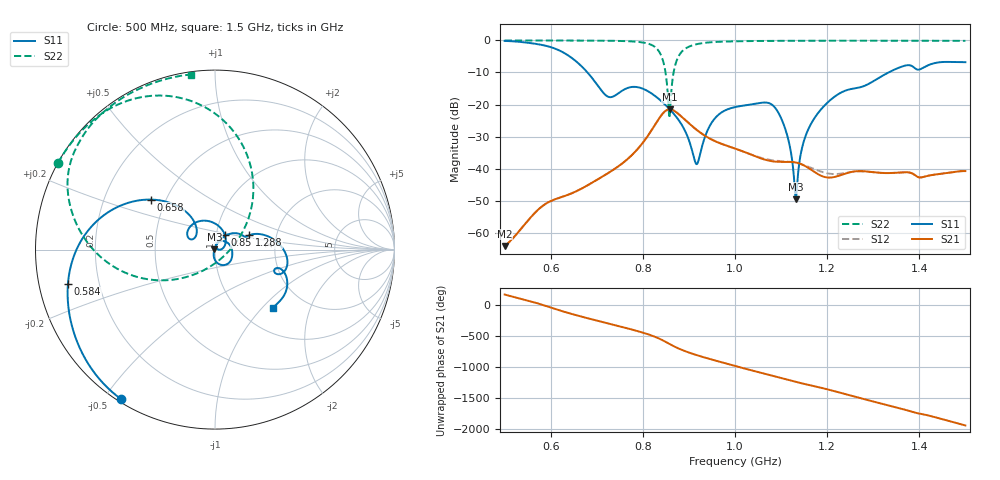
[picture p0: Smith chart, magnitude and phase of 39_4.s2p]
! TOUCHSTONE file generated by CST MICROWAVE STUDIO
! Date and time: Wed Oct 28 19:20:52 2020
! Project name: Scenario_1_Circular_Tissue_out_of_Line.cst
! Parameters = {dy1=312.958; L_HA=400; MT=2.54; Rad_Dielectric=30; Rad_Lower=7.3; Rad_Upper=30; a_HA=580; a_WG=246; b_HA=500; b_WG=121; c_HA=0; c_WG=187; d_feed=85; dx1=693; h_feed=15; h_lower=18; h_upper=40}
! Header version: 2018
! Port assignment regex: !\s*Touchstone port\s*([0-9]+)\s*=\s*(CST MWS port|CST DS port)\s*([0-9]+|Zmin|Zmax)\s*\(\"(.*)\"\)(\s*mode\s*([0-9]+))?.*
! Touchstone port assignment:
! Touchstone port 1 = CST MWS port 1 ("")
! Touchstone port 2 = CST MWS port 2 ("")
# GHz S DB R 50
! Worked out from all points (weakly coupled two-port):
!   1001 points, 500 MHz to 1.5 GHz, reference 50 ohm
!   highest |S21| = -21.51 dB at 858 MHz (marker M1); lowest = -64.2 dB at 500 MHz (marker M2)
!   lowest |S11| = -49.5 dB at 1.132 GHz (marker M3), VSWR 1.01, Z = 49.7 + j0.104 ohm
!   |S11| at or under -10 dB: 679.8 MHz to 1.333 GHz (653.4 MHz wide, 64.9 % of centre)
!   |S22| runs from -24.2 to 0.0 dB; largest |S21 - S12| = 0.0013
!   S11 on the Smith chart (normalised r, x): 500 MHz: 0.01, -0.55; 584 MHz: 0.09, -0.12; 658 MHz: 0.41, +0.29; 850 MHz: 1.10, +0.18; 1.288 GHz: 1.45, +0.24; 1.5 GHz: 1.40, -1.15
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0.5  -0.14 -122.2  -64.15 164.8  -64.22 164.9  -0.01 151.1
0.584  -1.50 -166.8  -51.49 -6.0  -51.52 -6.0  -0.02 145.3
0.658  -6.88 142.0  -46.91 -173.8  -46.89 -173.7  -0.04 139.2
0.667  -8.06 136.8  -46.25 168.2  -46.23 168.3  -0.04 138.4
0.725  -17.59 142.5  -41.37 58.2  -41.39 58.0  -0.10 131.6
0.78  -14.49 136.5  -35.25 -47.3  -35.24 -47.3  -0.34 120.4
0.834  -18.19 74.4  -24.63 179.1  -24.62 179.3  -3.21 83.4
0.85  -20.27 55.0  -21.90 119.1  -21.90 119.5  -10.79 46.8
0.858  -21.44 45.2  -21.51 86.3  -21.49 86.7  -24.23 -61.0
0.877  -24.71 21.5  -22.93 16.0  -22.89 16.2  -5.09 -169.1
0.917  -38.63 37.9  -27.94 -92.7  -27.93 -92.7  -1.16 159.4
0.951  -25.32 58.2  -31.06 -166.8  -31.04 -166.7  -0.53 148.8
1  -20.81 7.4  -33.73 93.2  -33.74 93.1  -0.28 140.3
1.088  -21.19 -71.9  -37.84 -77.6  -37.53 -77.3  -0.13 130.8
1.114  -30.00 -103.7  -37.90 -128.3  -37.83 -128.3  -0.12 128.5
1.132  -49.55 161.7  -38.10 -163.5  -38.20 -163.4  -0.11 127.0
1.147  -32.68 75.8  -38.82 168.7  -38.79 168.7  -0.10 125.8
1.167  -25.51 64.7  -40.54 134.7  -39.86 134.1  -0.09 124.2
1.22  -17.16 41.3  -42.47 37.9  -41.70 39.3  -0.08 120.1
1.288  -13.72 22.9  -40.93 -97.6  -40.97 -97.7  -0.09 115.0
1.334  -9.94 12.0  -41.41 175.8  -41.38 175.9  -0.08 111.5
1.5  -6.79 -45.4  -40.78 -146.9  -40.78 -147.0  -0.14 97.9
